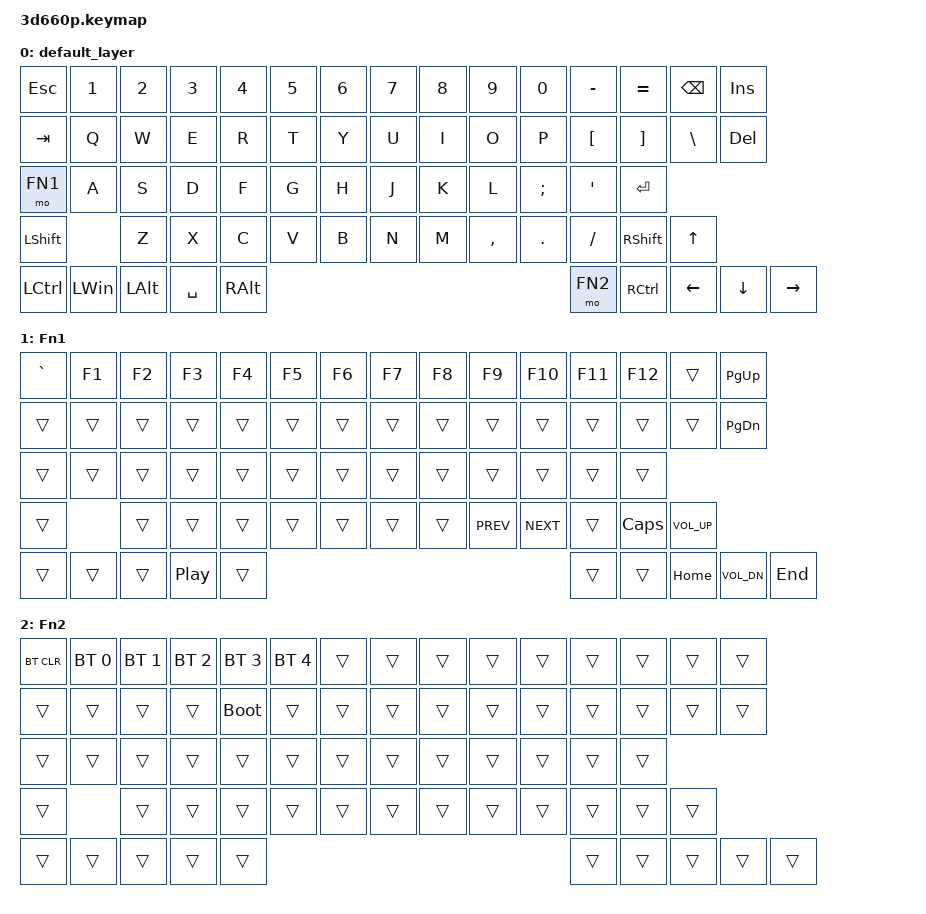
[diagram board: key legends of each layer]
#include <behaviors.dtsi>
#include <dt-bindings/zmk/keys.h>
#include <dt-bindings/zmk/bt.h>

#define DEFAULT 0
#define FN1     1
#define FN2     2

/ {
    keymap {
        compatible = "zmk,keymap";

        default_layer { // Layer 0
            bindings = <
                &kp ESC      &kp N1       &kp N2       &kp N3       &kp N4       &kp N5       &kp N6       &kp N7       &kp N8       &kp N9       &kp N0       &kp MINUS    &kp EQUAL                 &kp BSPC     &kp INSERT
                &kp TAB      &kp Q        &kp W        &kp E        &kp R        &kp T        &kp Y        &kp U        &kp I        &kp O        &kp P        &kp LBKT     &kp RBKT     &kp BSLH                  &kp DELETE
                &mo FN1      &kp A        &kp S        &kp D        &kp F        &kp G        &kp H        &kp J        &kp K        &kp L        &kp SEMI     &kp SQT                   &kp ENTER
                &kp LSHFT                 &kp Z        &kp X        &kp C        &kp V        &kp B        &kp N        &kp M        &kp COMMA    &kp DOT      &kp SLASH                 &kp RSHFT    &kp UP
                &kp LCTRL    &kp LWIN     &kp LALT                                            &kp SPACE                                           &kp RALT     &mo FN2      &kp RCTRL    &kp LEFT     &kp DOWN     &kp RIGHT
            >;
        };

        function1_layer { // Layer 1
            display-name = "Fn1";
            bindings = <
                &kp GRAVE    &kp F1       &kp F2       &kp F3       &kp F4       &kp F5       &kp F6       &kp F7       &kp F8       &kp F9       &kp F10      &kp F11      &kp F12                   &trans       &kp PG_UP
                &trans       &trans       &trans       &trans       &trans       &trans       &trans       &trans       &trans       &trans       &trans       &trans       &trans       &trans                    &kp PG_DN
                &trans       &trans       &trans       &trans       &trans       &trans       &trans       &trans       &trans       &trans       &trans       &trans                    &trans
                &trans                    &trans       &trans       &trans       &trans       &trans       &trans       &trans       &kp C_PREV   &kp C_NEXT   &trans                    &kp CAPS     &kp C_VOL_UP
                &trans       &trans       &trans                                              &kp C_PP                                            &trans       &trans       &trans       &kp HOME     &kp C_VOL_DN &kp END
            >;
        };

        function2_layer { // Layer 2
            display-name = "Fn2";
            bindings = <
                &bt BT_CLR   &bt BT_SEL 0 &bt BT_SEL 1 &bt BT_SEL 2 &bt BT_SEL 3 &bt BT_SEL 4 &trans       &trans       &trans       &trans       &trans       &trans       &trans                    &trans       &trans
                &trans       &trans       &trans       &trans       &bootloader  &trans       &trans       &trans       &trans       &trans       &trans       &trans       &trans       &trans                    &trans
                &trans       &trans       &trans       &trans       &trans       &trans       &trans       &trans       &trans       &trans       &trans       &trans                    &trans
                &trans                    &trans       &trans       &trans       &trans       &trans       &trans       &trans       &trans       &trans       &trans                    &trans       &trans
                &trans       &trans       &trans                                              &trans                                              &trans       &trans       &trans       &trans       &trans       &trans
            >;
        };

    };
 };
